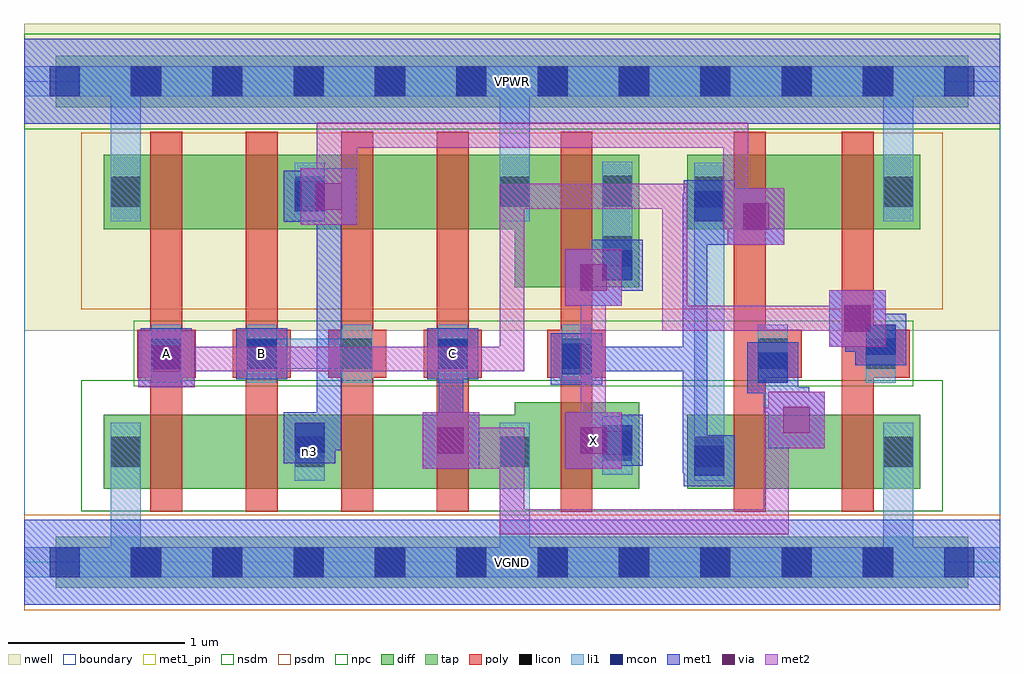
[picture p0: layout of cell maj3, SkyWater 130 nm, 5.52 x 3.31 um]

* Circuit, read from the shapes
.subckt maj3 A B C VGND VPWR X n3
XM1 n1 A VGND VGND sky130_fd_pr__nfet_01v8 w=0.42 l=0.18
XM2 n3 B n1 VGND sky130_fd_pr__nfet_01v8 w=0.42 l=0.18
XM3 n2 B n3 VGND sky130_fd_pr__nfet_01v8 w=0.42 l=0.18
XM4 VGND C n2 VGND sky130_fd_pr__nfet_01v8 w=0.42 l=0.18
XM5 X n3 VGND VGND sky130_fd_pr__nfet_01v8 w=0.49 l=0.18
XM6 n4 C n3 VGND sky130_fd_pr__nfet_01v8 w=0.42 l=0.18
XM7 VGND A n4 VGND sky130_fd_pr__nfet_01v8 w=0.42 l=0.18
XM8 n5 A VPWR VPWR sky130_fd_pr__pfet_01v8 w=0.42 l=0.18
XM9 n3 B n5 VPWR sky130_fd_pr__pfet_01v8 w=0.42 l=0.18
XM10 n6 B n3 VPWR sky130_fd_pr__pfet_01v8 w=0.42 l=0.18
XM11 VPWR C n6 VPWR sky130_fd_pr__pfet_01v8 w=0.42 l=0.18
XM12 X n3 VPWR VPWR sky130_fd_pr__pfet_01v8 w=0.75 l=0.18
XM13 n7 C n3 VPWR sky130_fd_pr__pfet_01v8 w=0.42 l=0.18
XM14 VPWR A n7 VPWR sky130_fd_pr__pfet_01v8 w=0.42 l=0.18
.ends

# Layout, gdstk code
import gdstk
lib = gdstk.Library(unit=1e-6, precision=1e-09)
def R(c, l, rs):  # rectangles x0, y0, x1, y1
    for r in rs: c.add(gdstk.rectangle(r[:2], r[2:], *l))
def A(c, l, x, y, w, h, nx, ny, dx, dy):  # array of equal rectangles
    R(c, l, [(x+i*dx, y+j*dy, x+i*dx+w, y+j*dy+h) for i in range(nx) for j in range(ny)])
nwell = (64, 20)
diff = (65, 20)
tap = (65, 44)
poly = (66, 20)
licon = (66, 44)
li1 = (67, 20)
mcon = (67, 44)
met1_pin = (68, 16)
met1 = (68, 20)
via = (68, 44)
met2 = (69, 20)
nsdm = (93, 44)
psdm = (94, 20)
npc = (95, 20)
boundary = (235, 4)

maj3 = lib.new_cell('maj3')
R(maj3, nwell, [(0,1.31,5.52,3.045)])
R(maj3, diff, [(0.45,0.415,2.775,0.835), (2.775,0.415,3.48,0.905), (3.75,0.415,5.07,0.835), (2.775,1.555,3.48,2.305), (0.45,1.885,2.775,2.305), (3.75,1.885,5.07,2.305)])
R(maj3, tap, [(0.18,-0.145,5.34,0.145), (0.18,2.575,5.34,2.865)])
A(maj3, poly, 0.715, 0.285, 0.18, 2.15, 4, 1, 0.54, 0)
A(maj3, poly, 0.64, 1.045, 0.33, 0.27, 4, 1, 0.54, 0)
R(maj3, poly, [(3.035,0.285,3.215,2.435), (4.015,0.285,4.195,2.435), (4.625,0.285,4.805,2.435), (2.96,1.045,3.29,1.315), (4.07,1.045,4.4,1.315), (4.68,1.045,5.01,1.315)])
A(maj3, licon, 0.605, -0.085, 0.17, 0.17, 10, 2, 0.46, 2.72)
A(maj3, licon, 0.72, 1.095, 0.17, 0.17, 4, 1, 0.54, 0)
R(maj3, licon, [(0.49,0.54,0.66,0.71), (1.53,0.54,1.7,0.71), (2.69,0.54,2.86,0.71), (3.79,0.54,3.96,0.71), (4.86,0.54,5.03,0.71), (3.27,0.575,3.44,0.745), (3.04,1.095,3.21,1.265), (4.15,1.095,4.32,1.265), (4.76,1.095,4.93,1.265), (3.27,1.675,3.44,1.845), (0.49,2.01,0.66,2.18), (1.53,2.01,1.7,2.18), (2.69,2.01,2.86,2.18), (3.79,2.01,3.96,2.18), (4.86,2.01,5.03,2.18), (3.27,2.015,3.44,2.185)])
A(maj3, li1, 0.72, 1.015, 0.17, 0.33, 4, 1, 0.54, 0)
R(maj3, li1, [(0,-0.085,5.52,0.085), (0.49,-0.085,0.66,0.79), (2.69,-0.085,2.86,0.79), (4.86,-0.085,5.03,0.79), (0.49,0.46,0.66,0.79), (1.53,0.46,1.7,0.79), (2.69,0.46,2.86,0.79), (3.79,0.46,3.96,0.79), (3.79,0.46,3.96,2.26), (4.86,0.46,5.03,0.79), (3.27,0.495,3.44,0.825), (3.04,1.015,3.21,1.345), (4.15,1.015,4.32,1.345), (4.76,1.015,4.93,1.345), (1.26,1.095,1.97,1.265), (3.27,1.595,3.44,2.265), (0.49,1.93,0.66,2.26), (0.49,1.93,0.66,2.805), (1.53,1.93,1.7,2.26), (2.69,1.93,2.86,2.26), (2.69,1.93,2.86,2.805), (3.79,1.93,3.96,2.26), (4.86,1.93,5.03,2.26), (4.86,1.93,5.03,2.805), (0,2.635,5.52,2.805)])
A(maj3, mcon, 0.145, -0.085, 0.17, 0.17, 12, 2, 0.46, 2.72)
R(maj3, mcon, [(3.79,0.49,3.96,0.66), (3.27,0.605,3.44,0.775), (1.53,0.62,1.7,0.79), (4.15,1.015,4.32,1.185), (3.04,1.065,3.21,1.235), (0.72,1.095,0.89,1.265), (1.26,1.095,1.43,1.265), (2.34,1.095,2.51,1.265), (4.76,1.175,4.93,1.345), (3.27,1.595,3.44,1.765), (3.79,1.93,3.96,2.1), (1.53,1.985,1.7,2.155)])
R(maj3, met1_pin, [(0,-0.24,5.52,0.24), (3.06,0.53,3.38,0.85), (0.66,1.035,0.95,1.325), (1.2,1.035,1.49,1.325), (2.28,1.035,2.57,1.325), (0,2.48,5.52,2.96)])
R(maj3, met1, [(0,-0.24,5.52,0.24), (3.73,0.43,4.02,0.72), (3.725,0.505,3.945,0.645), (3.725,0.505,3.865,1.22), (2.255,0.53,2.575,0.85), (3.06,0.53,3.38,0.85), (3.21,0.545,3.5,0.835), (1.47,0.56,1.76,0.85), (2.345,0.62,2.485,1.22), (3.15,0.62,3.425,0.76), (1.545,0.635,1.795,0.775), (1.655,0.635,1.795,0.875), (4.21,0.645,4.53,0.965), (1.655,0.735,1.795,2.14), (4.3,0.735,4.44,0.99), (4.185,0.85,4.325,1.17), (4.185,0.85,4.44,0.99), (4.09,0.955,4.38,1.245), (0.645,0.99,0.965,1.31), (2.98,1.005,3.27,1.295), (4.165,1.03,4.325,1.17), (0.66,1.035,0.95,1.325), (1.2,1.035,1.49,1.325), (2.28,1.035,2.57,1.325), (0.735,1.08,0.875,1.22), (2.345,1.08,2.485,1.22), (3.055,1.08,3.29,1.22), (3.15,1.08,3.865,1.22), (3.725,1.08,3.865,1.91), (4.7,1.115,4.99,1.405), (4.645,1.19,4.915,1.33), (4.645,1.19,4.785,1.45), (4.555,1.22,4.875,1.54), (3.06,1.45,3.38,1.77), (3.21,1.535,3.5,1.825), (3.15,1.54,3.29,1.75), (3.15,1.61,3.425,1.75), (3.725,1.77,3.865,2.025), (3.725,1.77,3.865,2.085), (3.865,1.795,3.98,2.025), (3.865,1.795,3.98,2.085), (3.865,1.795,3.98,1.91), (3.98,1.795,4.3,2.115), (3.73,1.87,4.02,2.16), (3.725,1.885,4.21,2.025), (1.565,1.91,1.885,2.23), (1.47,1.925,1.76,2.215), (3.725,1.945,3.945,2.085), (1.545,2,1.795,2.14), (0,2.48,5.52,2.96)])
R(maj3, via, [(2.34,0.615,2.49,0.765), (3.145,0.615,3.295,0.765), (4.295,0.73,4.445,0.88), (0.73,1.075,0.88,1.225), (4.64,1.305,4.79,1.455), (3.145,1.535,3.295,1.685), (4.065,1.88,4.215,2.03), (1.65,1.995,1.8,2.145)])
R(maj3, met2, [(2.69,0.16,2.83,0.76), (2.69,0.16,4.325,0.3), (4.185,0.16,4.325,0.875), (2.255,0.53,2.575,0.85), (2.575,0.53,2.69,0.76), (3.06,0.53,3.38,0.85), (2.345,0.62,2.83,0.76), (3.15,0.62,3.29,1.68), (4.21,0.645,4.53,0.965), (4.185,0.735,4.44,0.875), (0.645,0.99,0.965,1.31), (0.735,1.08,2.83,1.22), (2.69,1.08,2.83,2.14), (4.555,1.22,4.875,1.54), (3.61,1.31,3.75,2.14), (3.61,1.31,4.785,1.45), (3.06,1.45,3.38,1.77), (3.98,1.795,4.3,2.115), (3.955,1.885,4.095,2.485), (3.955,1.885,4.21,2.025), (1.565,1.91,1.885,2.23), (1.655,2,1.795,2.485), (2.69,2,3.75,2.14), (1.655,2.23,1.885,2.345), (1.655,2.345,4.095,2.485)])
R(maj3, nsdm, [(0.325,0.29,5.195,1.03), (0,2.45,5.52,2.99)])
R(maj3, psdm, [(0,-0.27,5.52,0.27), (0.325,1.43,5.195,2.43)])
R(maj3, npc, [(0.62,0.995,5.03,1.365)])
R(maj3, boundary, [(0,0,5.52,2.72)])
maj3.add(gdstk.Label('n3', (1.615,0.625), layer=67, texttype=5))
maj3.add(gdstk.Label('A', (0.805,1.18), layer=68, texttype=5))
maj3.add(gdstk.Label('B', (1.345,1.18), layer=68, texttype=5))
maj3.add(gdstk.Label('C', (2.425,1.18), layer=68, texttype=5))
maj3.add(gdstk.Label('X', (3.22,0.69), layer=68, texttype=5))
maj3.add(gdstk.Label('VPWR', (2.76,2.72), layer=68, texttype=5))
maj3.add(gdstk.Label('VGND', (2.76,0), layer=68, texttype=5))
maj3.add(gdstk.Label('A', (0.805,1.18), layer=68, texttype=16))
maj3.add(gdstk.Label('B', (1.345,1.18), layer=68, texttype=16))
maj3.add(gdstk.Label('C', (2.425,1.18), layer=68, texttype=16))
maj3.add(gdstk.Label('X', (3.22,0.69), layer=68, texttype=16))
maj3.add(gdstk.Label('VPWR', (2.76,2.72), layer=68, texttype=16))
maj3.add(gdstk.Label('VGND', (2.76,0), layer=68, texttype=16))

lib.write_gds('maj3.gds')
